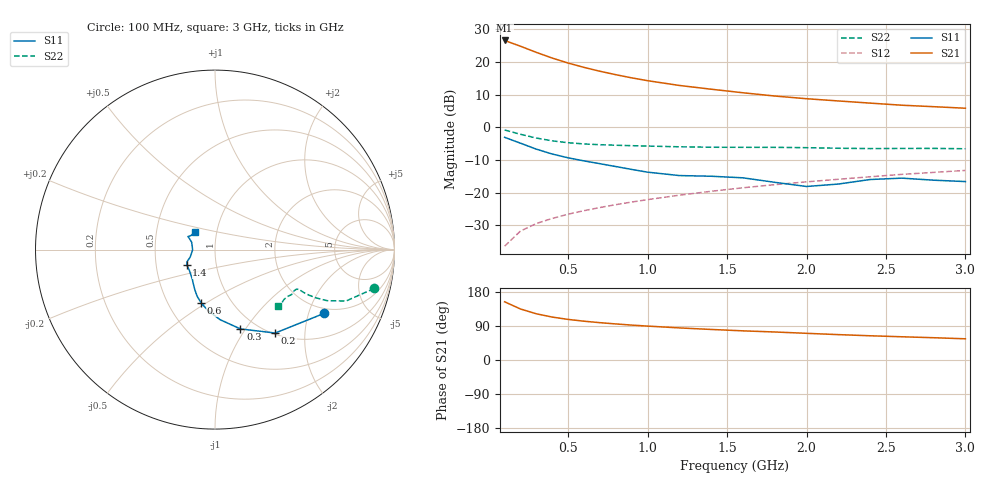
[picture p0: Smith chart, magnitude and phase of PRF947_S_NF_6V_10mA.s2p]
! Filename:  PRF947n.S2P  Version:  3.0
! Philips part #:  PRF947  Date:  Dec 1998
! Bias condition:  Vce=6V, Ic=10mA
#  MHz  S  MA  R 50
! Freq  S11  S21  S12  S22  :
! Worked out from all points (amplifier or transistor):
!   20 points, 100 MHz to 3 GHz, reference 50 ohm
!   highest |S21| = 26.6 dB at 100 MHz (marker M1)
!   |S21| within 3 dB of that: start of sweep to 265.2 MHz
!   unconditionally stable (mu >= 1): 1.073 GHz to end of sweep
!   at 400 MHz: K = 0.70, MSG = 24.5 dB, |S12| = -27.9 dB
!   at 1.2 GHz: K = 1.02, MAG = 15.9 dB, |S12| = -20.7 dB
!   at 3 GHz: K = 1.04, MAG = 8.3 dB, |S12| = -13.2 dB
!   lowest NFmin = 1.54 dB at 500 MHz
!   S11 on the Smith chart (normalised r, x): 100 MHz: 1.81, -2.55; 200 MHz: 1.02, -1.41; 300 MHz: 0.84, -0.95; 600 MHz: 0.73, -0.48; 1.4 GHz: 0.72, -0.13; 3 GHz: 0.79, +0.16
100  0.7048 -30.2  21.39 153.6  0.01523 75.6  0.9128 -13.7
200  0.5732 -54.2  17.44 134.6  0.02597 68.4  0.7845 -21.4
300  0.4643 -72.2  14.05 121.9  0.03382 65.9  0.6865 -24.5
400  0.3912 -85.9  11.5 113.2  0.0405 65.9  0.6224 -25.6
500  0.3424 -96.5  9.645 107.1  0.04695 67.0  0.5826 -25.9
600  0.307 -104.6  8.28 102.4  0.05323 68.2  0.5582 -25.9
700  0.2783 -110.9  7.227 98.5  0.05944 69.5  0.5433 -25.8
800  0.2517 -116.4  6.402 95.2  0.06576 70.6  0.5332 -25.6
900  0.2274 -121.9  5.728 92.1  0.0721 71.6  0.5251 -25.4
1000  0.2065 -127.9  5.184 89.5  0.07849 72.4  0.518 -25.4
1200  0.1832 -141.5  4.382 84.7  0.09176 73.5  0.5048 -25.9
1400  0.179 -151.7  3.84 80.6  0.1053 74.2  0.4968 -27.5
1600  0.1692 -156.7  3.388 76.9  0.1192 74.9  0.4957 -29.2
1800  0.1445 -163.1  3.019 73.9  0.1331 75.2  0.4951 -30.3
2000  0.1247 -179.1  2.747 70.4  0.1468 75.3  0.4894 -31.4
2200  0.1359 162.7  2.539 67.0  0.1608 75.3  0.4795 -33.3
2400  0.1594 155.7  2.353 63.9  0.1756 75.1  0.4742 -36.0
2600  0.1674 154.2  2.184 61.3  0.1912 74.9  0.4763 -38.5
2800  0.1557 150.1  2.075 58.8  0.2049 74.9  0.4771 -40.2
3000  0.1483 137.4  1.964 55.9  0.2197 74.8  0.4712 -41.8
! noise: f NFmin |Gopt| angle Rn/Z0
500  1.54  0.31  15  0.3
800  1.74  0.34  26  0.38
900  1.82  0.33  25  0.37
1000  1.92  0.33  31  0.33
1500  1.96  0.31  62  0.23
2000  2.27  0.14  121  0.29
